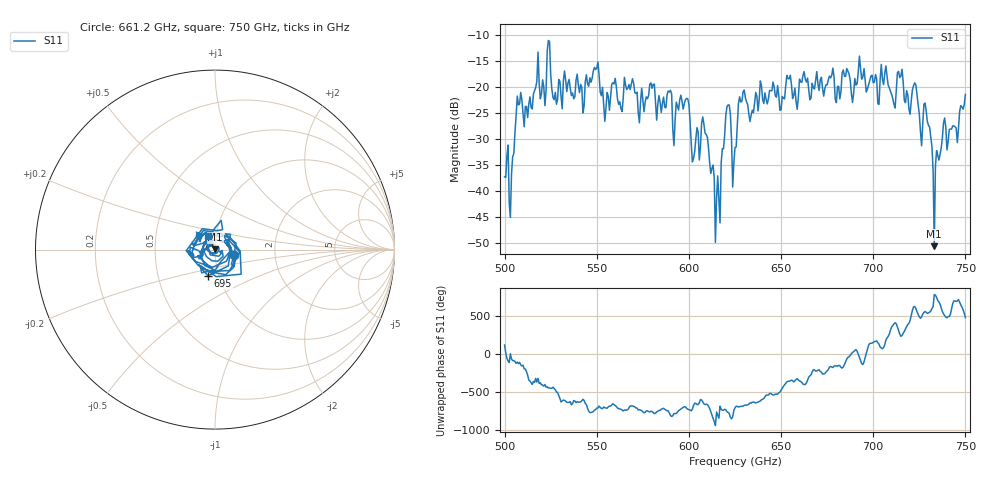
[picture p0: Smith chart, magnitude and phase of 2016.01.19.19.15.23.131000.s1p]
!Created with skrf (http://scikit-rf.org).
# GHz S RI R 50.0
!freq ReS11 ImS11
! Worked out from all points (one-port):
!   401 points, 500 GHz to 750 GHz, reference 50 ohm
!   lowest |S11| = -50.6 dB at 733.1 GHz (marker M1), VSWR 1.01, Z = 50.1 + j0.253 ohm
!   |S11| at or under -10 dB: start of sweep to end of sweep
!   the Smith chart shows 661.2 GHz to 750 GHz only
!   S11 on the Smith chart (normalised r, x): 661.2 GHz: 1.24, -0.07; 695 GHz: 0.89, -0.27; 750 GHz: 0.92, +0.14
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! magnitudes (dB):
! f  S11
! 500 GHz  -37.3
! 503.8 GHz  -36.7
! 508.1 GHz  -23.2
! 520.6 GHz  -18.6
! 523.8 GHz  -11.0
! 526.9 GHz  -22.4
! 531.2 GHz  -24.1
! 549.4 GHz  -16.6
! 553.8 GHz  -23.2
! 562.5 GHz  -22.8
! 593.8 GHz  -23.6
! 598.8 GHz  -22.1
! 602.5 GHz  -33.7
! 608.8 GHz  -28.8
! 615.6 GHz  -37.1
! 621.2 GHz  -23.4
! 625 GHz  -31.6
! 628.8 GHz  -22.7
! 656.2 GHz  -22.2
! 661.2 GHz  -19.1
! 687.5 GHz  -18.6
! 695 GHz  -16.4
! 711.2 GHz  -23.3
! 714.4 GHz  -18.1
! 718.8 GHz  -21.5
! 728.8 GHz  -24.6
! 733.1 GHz  -50.6
! 750 GHz  -21.4
